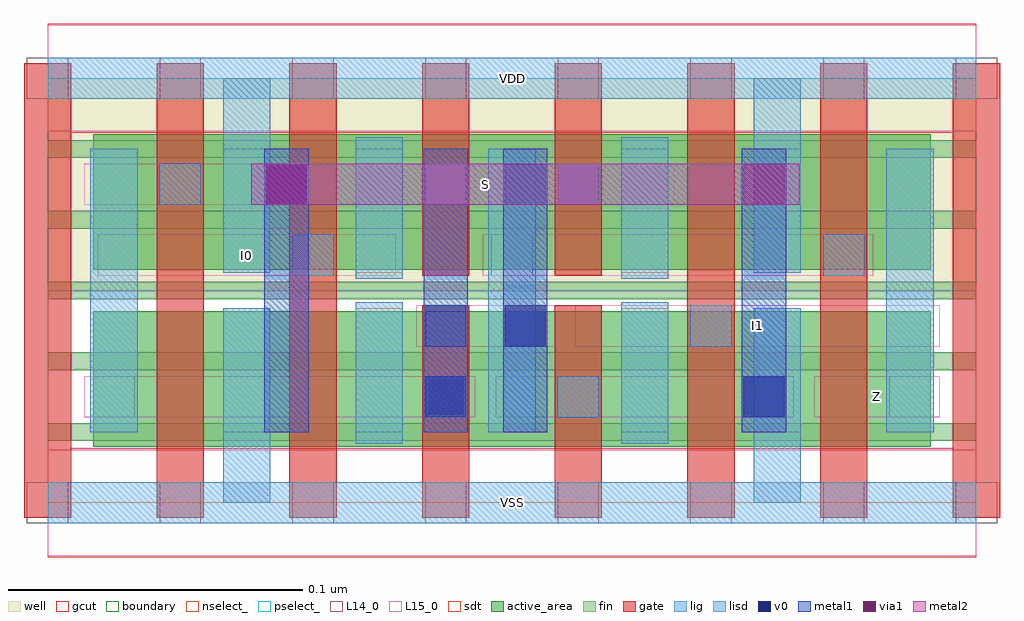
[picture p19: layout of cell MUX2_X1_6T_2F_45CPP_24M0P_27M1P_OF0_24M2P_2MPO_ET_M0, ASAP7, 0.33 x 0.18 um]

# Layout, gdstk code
import gdstk
lib = gdstk.Library(unit=1e-6, precision=2.5e-10)
def R(c, l, rs):  # rectangles x0, y0, x1, y1
    for r in rs: c.add(gdstk.rectangle(r[:2], r[2:], *l))
def A(c, l, x, y, w, h, nx, ny, dx, dy):  # array of equal rectangles
    R(c, l, [(x+i*dx, y+j*dy, x+i*dx+w, y+j*dy+h) for i in range(nx) for j in range(ny)])
well = (1, 0)
fin = (2, 0)
gate = (7, 0)
gcut = (10, 0)
active_area = (11, 0)
nselect_ = (12, 0)
pselect_ = (13, 0)
L14_0 = (14, 0)
L15_0 = (15, 0)
lig = (16, 0)
lisd = (17, 0)
v0 = (18, 0)
metal1 = (19, 0)
metal2 = (20, 0)
via1 = (21, 0)
sdt = (88, 0)
boundary = (100, 0)

mux2_x1_6t_2f_45cpp_24m0 = lib.new_cell('MUX2_X1_6T_2F_45CPP_24M0P_27M1P_OF0_24M2P_2MPO_ET_M0')
R(mux2_x1_6t_2f_45cpp_24m0, well, [(0,0.072,0.315,0.144)])
A(mux2_x1_6t_2f_45cpp_24m0, fin, 0, 0.021, 0.315, 0.006, 1, 5, 0, 0.024)
A(mux2_x1_6t_2f_45cpp_24m0, gate, -0.008, -0.005, 0.016, 0.154, 3, 1, 0.045, 0)
A(mux2_x1_6t_2f_45cpp_24m0, gate, 0.217, -0.005, 0.016, 0.154, 3, 1, 0.045, 0)
R(mux2_x1_6t_2f_45cpp_24m0, gate, [(0.127,-0.005,0.143,0.067), (0.172,-0.005,0.188,0.067), (0.127,0.077,0.143,0.149), (0.172,0.077,0.188,0.149)])
R(mux2_x1_6t_2f_45cpp_24m0, gcut, [(0,-0.0185,0.315,0.0185), (-0.008,-0.005,0.008,0.149), (0.307,-0.005,0.323,0.149), (0,0.1255,0.315,0.1625)])
A(mux2_x1_6t_2f_45cpp_24m0, active_area, 0.0155, 0.019, 0.059, 0.046, 6, 2, 0.045, 0.06)
R(mux2_x1_6t_2f_45cpp_24m0, nselect_, [(0,0,0.315,0.072)])
R(mux2_x1_6t_2f_45cpp_24m0, pselect_, [(0,0.072,0.315,0.144)])
A(mux2_x1_6t_2f_45cpp_24m0, L14_0, -0.007, -0.007, 0.014, 0.014, 8, 2, 0.045, 0.144)
R(mux2_x1_6t_2f_45cpp_24m0, L14_0, [(0.0155,0.029,0.0295,0.043), (0.128,0.029,0.142,0.043), (0.173,0.029,0.187,0.043), (0.2855,0.029,0.2995,0.043), (0.218,0.053,0.232,0.067), (0.083,0.077,0.097,0.091), (0.1505,0.077,0.1645,0.091), (0.263,0.077,0.277,0.091), (0.038,0.101,0.052,0.115), (0.128,0.101,0.142,0.115), (0.173,0.101,0.187,0.115)])
R(mux2_x1_6t_2f_45cpp_24m0, L15_0, [(0,-0.018,0.315,0.018), (0.0125,0.029,0.145,0.043), (0.152,0.029,0.253,0.043), (0.26,0.029,0.3025,0.043), (0.125,0.053,0.172,0.067), (0.179,0.053,0.3025,0.067), (0.017,0.077,0.118,0.091), (0.1475,0.077,0.28,0.091), (0.0125,0.101,0.145,0.115), (0.152,0.101,0.2125,0.115), (0,0.126,0.315,0.162)])
R(mux2_x1_6t_2f_45cpp_24m0, lig, [(0,-0.007,0.315,0.007), (0.128,0.029,0.142,0.043), (0.173,0.029,0.187,0.043), (0.218,0.053,0.232,0.067), (0.083,0.077,0.097,0.091), (0.263,0.077,0.277,0.091), (0.038,0.101,0.052,0.115), (0.128,0.101,0.142,0.115), (0.173,0.101,0.187,0.115), (0,0.137,0.315,0.151)])
A(mux2_x1_6t_2f_45cpp_24m0, lisd, 0.0145, 0.024, 0.016, 0.096, 3, 1, 0.135, 0)
R(mux2_x1_6t_2f_45cpp_24m0, lisd, [(0.0595,0,0.0755,0.066), (0.2395,0,0.2555,0.066), (0.1045,0.02,0.1205,0.068), (0.1945,0.02,0.2105,0.068), (0.1045,0.076,0.1205,0.124), (0.1945,0.076,0.2105,0.124), (0.0595,0.078,0.0755,0.144), (0.2395,0.078,0.2555,0.144)])
R(mux2_x1_6t_2f_45cpp_24m0, v0, [(0.128,0.029,0.142,0.043), (0.236,0.029,0.25,0.043), (0.128,0.053,0.142,0.067), (0.155,0.053,0.169,0.067), (0.074,0.101,0.088,0.115), (0.155,0.101,0.169,0.115)])
R(mux2_x1_6t_2f_45cpp_24m0, metal1, [(0.0735,0.024,0.0885,0.12), (0.1275,0.024,0.1425,0.12), (0.1545,0.024,0.1695,0.12), (0.2355,0.024,0.2505,0.12)])
R(mux2_x1_6t_2f_45cpp_24m0, metal2, [(0.069,0.101,0.255,0.115)])
R(mux2_x1_6t_2f_45cpp_24m0, via1, [(0.074,0.101,0.088,0.115), (0.236,0.101,0.25,0.115)])
A(mux2_x1_6t_2f_45cpp_24m0, sdt, 0.0145, 0.024, 0.016, 0.096, 3, 1, 0.135, 0)
R(mux2_x1_6t_2f_45cpp_24m0, sdt, [(0.0595,0.024,0.0755,0.066), (0.1045,0.024,0.1205,0.066), (0.1945,0.024,0.2105,0.066), (0.2395,0.024,0.2555,0.066), (0.0595,0.078,0.0755,0.12), (0.1045,0.078,0.1205,0.12), (0.1945,0.078,0.2105,0.12), (0.2395,0.078,0.2555,0.12)])
R(mux2_x1_6t_2f_45cpp_24m0, boundary, [(0,0,0.315,0.144)])
mux2_x1_6t_2f_45cpp_24m0.add(gdstk.Label('I0', (0.0675,0.084), layer=15, texttype=251))
mux2_x1_6t_2f_45cpp_24m0.add(gdstk.Label('I1', (0.2407,0.06), layer=15, texttype=251))
mux2_x1_6t_2f_45cpp_24m0.add(gdstk.Label('Z', (0.2812,0.036), layer=15, texttype=251))
mux2_x1_6t_2f_45cpp_24m0.add(gdstk.Label('VDD', (0.1575,0.144), layer=15, texttype=251))
mux2_x1_6t_2f_45cpp_24m0.add(gdstk.Label('VSS', (0.1575,0), layer=15, texttype=251))
mux2_x1_6t_2f_45cpp_24m0.add(gdstk.Label('VDD', (0.1575,0.144), layer=1, texttype=251))
mux2_x1_6t_2f_45cpp_24m0.add(gdstk.Label('VSS', (0.1575,0), layer=3, texttype=251))
mux2_x1_6t_2f_45cpp_24m0.add(gdstk.Label('S', (0.1485,0.108), layer=20, texttype=251))

lib.write_gds('MUX2_X1_6T_2F_45CPP_24M0P_27M1P_OF0_24M2P_2MPO_ET_M0.gds')
